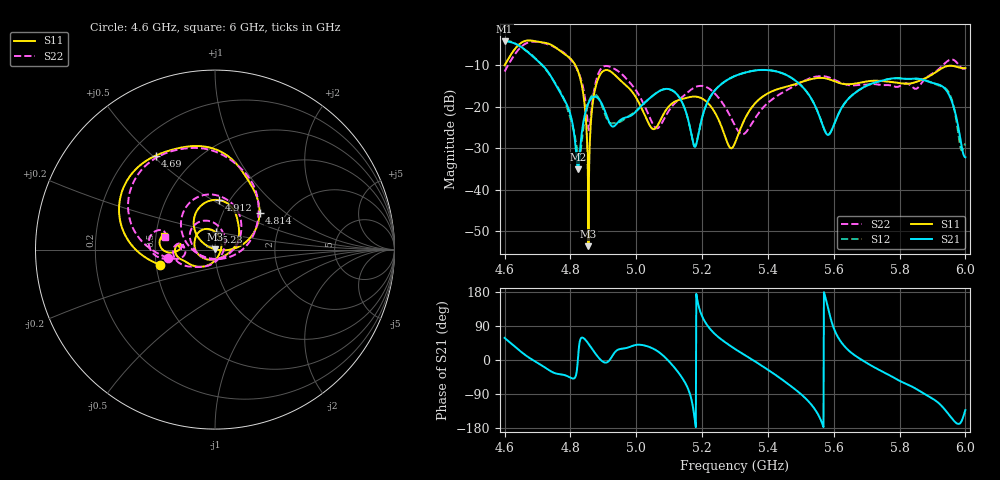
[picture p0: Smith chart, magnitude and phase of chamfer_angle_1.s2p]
! TOUCHSTONE file generated by CST MICROWAVE STUDIO
! Date and time: Sat Nov 30 03:29:14 2024
! Project name: test_tuning.cst
! Parameters = {airCoaxOuterDiameter=3; chamferAngle=35; chamferWidth=24; connectorLength=10; drillingHoleDiameter=4.1; feedLength=60; flareDiameter=130; flareLength=70; gratingDistance=0; gratingGap=1.90274; outletLength=30; polarizerLength=134; probe1Diameter=1.3; probe1Distance=14; probe1Length=1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
! Header version: 2024
! Port assignment regex: !\s*Touchstone port\s*([0-9]+)\s*=\s*(CST MWS port|CST DES external port|CST DES block port)\s*(.+)\s* \(\"(.*)\"\)(\s*mode\s*([0-9]+))?.*
! Touchstone port assignment:
! Touchstone port 1 = CST MWS port 1 ("Input1")
! Touchstone port 2 = CST MWS port 2 ("Input2")
# GHz S MA R 50
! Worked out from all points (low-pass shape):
!   1001 points, 4.6 GHz to 6 GHz, reference 50 ohm
!   highest |S21| = -4.24 dB at 4.6 GHz (marker M1); lowest = -35.0 dB at 4.823 GHz (marker M2)
!   |S21| within 3 dB of the highest: start of sweep to 4.677 GHz
!   lowest |S11| = -53.5 dB at 4.855 GHz (marker M3), VSWR 1.00, Z = 50 + j0.21 ohm
!   |S11| at or under -10 dB: start of sweep to 4.60008 GHz; 4.815 GHz to end of sweep
!   |S22| runs from -26.6 to -4.3 dB; largest |S21 - S12| = 0.012
!   S11 on the Smith chart (normalised r, x): 4.6 GHz: 0.53, -0.10; 4.69 GHz: 0.30, +0.51; 4.814 GHz: 1.48, +0.67; 4.912 GHz: 0.90, +0.54; 5.23 GHz: 0.99, +0.19; 6 GHz: 0.55, +0.09
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4.6  0.3158 -164.4  0.6135 58.2  0.6145 59.1  0.2656 -169.8
4.6476  0.5784 157.6  0.5341 23.3  0.5243 23.0  0.5148 158.6
4.6896  0.6193 122.3  0.3912 -2.1  0.3972 -2.5  0.6081 124.0
4.7876  0.4164 61.9  0.1094 -41.5  0.1037 -44.9  0.4227 60.2
4.8142  0.3204 39.3  0.03799 -45.8  0.04283 -33.4  0.3107 38.8
4.8226  0.2707 29.6  0.01771 0.4  0.02695 -10.8  0.2696 30.2
4.8338  0.1871 15.4  0.04585 58.9  0.0364 53.2  0.2042 14.6
4.8548  0.002105 89.9  0.111 42.9  0.1123 48.0  0.05495 -73.0
4.8758  0.1697 133.3  0.132 17.0  0.1406 15.8  0.1895 158.2
4.9122  0.2766 85.1  0.07426 -5.7  0.06947 -1.7  0.3094 96.7
5.0676  0.06235 -114.0  0.1524 21.5  0.1533 21.4  0.05613 -96.1
5.1292  0.1207 161.3  0.1325 -34.5  0.1328 -34.3  0.1218 173.3
5.1782  0.1329 130.5  0.03297 -159.6  0.03338 -160.2  0.1718 142.1
5.23  0.09698 88.0  0.1422 76.4  0.1416 76.6  0.1561 96.7
5.3  0.03666 -52.8  0.2353 29.1  0.2348 29.2  0.05937 22.4
5.3756  0.1251 -130.0  0.2774 -11.9  0.2769 -11.9  0.08791 -106.5
5.5338  0.2165 -171.6  0.1217 -119.8  0.1213 -119.6  0.2249 -165.1
5.5842  0.2155 174.5  0.04598 131.9  0.04656 131.4  0.2266 175.8
5.6514  0.1875 174.8  0.1329 20.5  0.1331 20.7  0.1812 171.7
5.7676  0.2005 170.7  0.2165 -39.3  0.2147 -39.5  0.1824 172.7
5.9356  0.3007 177.9  0.1689 -128.8  0.1713 -126.9  0.328 -173.6
6  0.2923 164.9  0.02471 -132.1  0.03609 -127.1  0.2896 165.9
